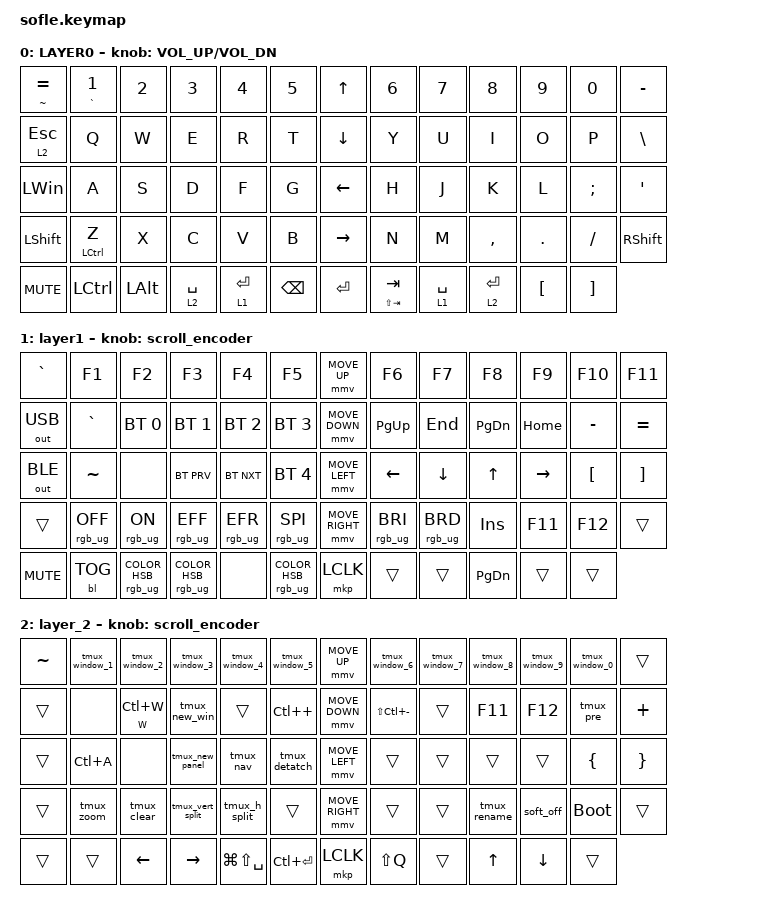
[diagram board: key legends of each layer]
#include <behaviors/mouse_keys.dtsi>
#include <behaviors.dtsi>
#include <dt-bindings/zmk/backlight.h>
#include <dt-bindings/zmk/bt.h>
#include <dt-bindings/zmk/keys.h>
#include <dt-bindings/zmk/mouse.h>
#include <dt-bindings/zmk/outputs.h>
#include <dt-bindings/zmk/rgb.h>

#define ZMK_MOUSE_DEFAULT_MOVE_VAL 1200  // 600
#define ZMK_MOUSE_DEFAULT_SCRL_VAL 20    // 10
#define U_MS_U &mmv MOVE_UP
#define U_MS_D &mmv MOVE_DOWN
#define U_MS_L &mmv MOVE_LEFT
#define U_MS_R &mmv MOVE_RIGHT
#define ZMK_MOUSE_DEFAULT_MOVE_VAL 1200  //  600
#define ZMK_MOUSE_DEFAULT_SCRL_VAL 20    // 10

/ {
    behaviors {
        mmv {
            acceleration-exponent = <1>;      // 1
            time-to-max-speed-ms = <900>;    // 40
            delay-ms = <0>;                   // 0
        };

        msc {
            acceleration-exponent = <1>;      // 0
            time-to-max-speed-ms = <400>;      // 500
            delay-ms = <0>;                   //   10
        };
    };

    scroll_encoder: scroll_encoder {
        compatible = "zmk,behavior-sensor-rotate";
        #sensor-binding-cells = <0>;
        bindings = <&msc SCRL_DOWN>, <&msc SCRL_UP>;

        tap-ms = <30>;
    };

    macros {
        tmux_window_1: tmux_new_window {
            compatible = "zmk,behavior-macro";
            #binding-cells = <0>;
            bindings = <&kp LC(W) &kp NUMBER_1>;
            label = "TMUX_NEW_WINDOW";
        };

        tmux_window_2: tmux_window_2 {
            compatible = "zmk,behavior-macro";
            #binding-cells = <0>;
            bindings = <&kp LC(W) &kp NUMBER_2>;
            label = "TMUX_WINDOW_2";
        };

        tmux_window_3: tmux_window_3 {
            compatible = "zmk,behavior-macro";
            #binding-cells = <0>;
            bindings = <&kp LC(W) &kp NUMBER_3>;
            label = "TMUX_WINDOW_3";
        };

        tmux_window_4: tmux_window_4 {
            compatible = "zmk,behavior-macro";
            #binding-cells = <0>;
            bindings = <&kp LC(W) &kp NUMBER_4>;
            label = "TMUX_WINDOW_4";
        };

        tmux_window_5: tmux_window_5 {
            compatible = "zmk,behavior-macro";
            #binding-cells = <0>;
            bindings = <&kp LC(W) &kp N5>;
            label = "TMUX_WINDOW_5";
        };

        tmux_window_6: tmux_window_6 {
            compatible = "zmk,behavior-macro";
            #binding-cells = <0>;
            bindings = <&kp LC(W) &kp NUMBER_6>;
            label = "TMUX_WINDOW_6";
        };

        tmux_window_7: tmux_window_7 {
            compatible = "zmk,behavior-macro";
            #binding-cells = <0>;
            bindings = <&kp LC(W) &kp N7>;
            label = "TMUX_WINDOW_7";
        };

        tmux_window_8: tmux_window_8 {
            compatible = "zmk,behavior-macro";
            #binding-cells = <0>;
            bindings = <&kp LC(W) &kp N8>;
            label = "TMUX_WINDOW_8";
        };

        tmux_window_9: tmux_window_9 {
            compatible = "zmk,behavior-macro";
            #binding-cells = <0>;
            bindings = <&kp LC(W) &kp N9>;
            label = "TMUX_WINDOW_9";
        };

        tmux_window_0: tmux_window_0 {
            compatible = "zmk,behavior-macro";
            #binding-cells = <0>;
            bindings = <&kp LC(W) &kp N0>;
            label = "TMUX_WINDOW_0";
        };

        tmux_new_panel: tmux_new_panel {
            compatible = "zmk,behavior-macro";
            #binding-cells = <0>;
            bindings = <&kp LC(W) &kp W>;
            label = "TMUX_NEW_PANEL";
        };

        tmux_nav: tmux_nav {
            compatible = "zmk,behavior-macro";
            #binding-cells = <0>;
            bindings = <&kp LC(W) &kp LEFT_BRACKET>;
            label = "TMUX_NAV";
        };

        tmux_detatch: tmux_detatch {
            compatible = "zmk,behavior-macro";
            #binding-cells = <0>;
            bindings = <&kp LC(W) &kp D>;
            label = "TMUX_DETATCH";
        };

        tmux_zoom: tmux_zoom {
            compatible = "zmk,behavior-macro";
            #binding-cells = <0>;
            bindings = <&kp LC(W) &kp Z>;
            label = "TMUX_ZOOM";
        };

        tmux_clear: tmux_clear {
            compatible = "zmk,behavior-macro";
            #binding-cells = <0>;
            bindings = <&kp LC(W) &kp X &kp Y>;
            label = "TMUX_CLEAR";
        };

        tmux_vert_split: tmux_view {
            compatible = "zmk,behavior-macro";
            #binding-cells = <0>;
            bindings = <&kp LC(W) &kp C>;
            label = "TMUX_VIEW";
        };

        tmux_h_split: tmux_h_split {
            compatible = "zmk,behavior-macro";
            #binding-cells = <0>;
            bindings = <&kp LC(W) &kp V>;
            label = "TMUX_H_SPLIT";
        };

        tmux_rename: tmux_rename {
            compatible = "zmk,behavior-macro";
            #binding-cells = <0>;
            bindings = <&kp LC(W) &kp COMMA>;
            label = "TMUX_RENAME";
        };

        tmux_pre: tmux_pre {
            compatible = "zmk,behavior-macro";
            #binding-cells = <0>;
            bindings = <&kp LC(W) &kp P>;
            label = "TMUX_PRE";
        };

        tmux_new_win: tmux_new_win {
            compatible = "zmk,behavior-macro";
            #binding-cells = <0>;
            bindings = <&kp LC(W) &kp E>;
            label = "TMUX_NEW_WIN";
        };
    };

    keymap {
        compatible = "zmk,keymap";

        layer0 {
            bindings = <
&mt TILDE EQUAL  &mt GRAVE NUMBER_1  &kp N2        &kp N3       &kp N4       &kp N5           &kp UP_ARROW     &kp N6           &kp N7       &kp N8       &kp N9            &kp N0             &kp MINUS
&lt 2 ESC        &kp Q               &kp W         &kp E        &kp R        &kp T            &kp DOWN_ARROW   &kp Y            &kp U        &kp I        &kp O             &kp P              &kp BSLH
&kp LEFT_WIN     &kp A               &kp S         &kp D        &kp F        &kp G            &kp LEFT_ARROW   &kp H            &kp J        &kp K        &kp L             &kp SEMI           &kp APOS
&kp LSHFT        &mt LEFT_CONTROL Z  &kp X         &kp C        &kp V        &kp B            &kp RIGHT_ARROW  &kp N            &kp M        &kp COMMA    &kp DOT           &kp FSLH           &kp RIGHT_SHIFT
&kp C_MUTE       &kp LCTRL           &kp LEFT_ALT  &lt 2 SPACE  &lt 1 ENTER  &kp BACKSPACE    &kp ENTER        &mt LS(TAB) TAB  &lt 1 SPACE  &lt 2 ENTER  &kp LEFT_BRACKET  &kp RIGHT_BRACKET
            >;

            sensor-bindings = <&inc_dec_kp C_VOLUME_UP C_VOL_DN>;
            display-name = "LAYER0";
        };

        layer_1 {
            bindings = <
&kp GRAVE     &kp F1           &kp F2                            &kp F3                            &kp F4           &kp F5                               &mmv MOVE_UP     &kp F6           &kp F7           &kp F8         &kp F9     &kp F10           &kp F11
&out OUT_USB  &kp GRAVE        &bt BT_SEL 0                      &bt BT_SEL 1                      &bt BT_SEL 2     &bt BT_SEL 3                         &mmv MOVE_DOWN   &kp PG_UP        &kp END          &kp PAGE_DOWN  &kp HOME   &kp MINUS         &kp EQUAL
&out OUT_BLE  &kp TILDE        &none                             &bt BT_PRV                        &bt BT_NXT       &bt BT_SEL 4                         &mmv MOVE_LEFT   &kp LEFT_ARROW   &kp DOWN         &kp UP_ARROW   &kp RIGHT  &kp LEFT_BRACKET  &kp RIGHT_BRACKET
&trans        &rgb_ug RGB_OFF  &rgb_ug RGB_ON                    &rgb_ug RGB_EFF                   &rgb_ug RGB_EFR  &rgb_ug RGB_SPI                      &mmv MOVE_RIGHT  &rgb_ug RGB_BRI  &rgb_ug RGB_BRD  &kp INSERT     &kp F11    &kp F12           &trans
&kp C_MUTE    &bl BL_TOG       &rgb_ug RGB_COLOR_HSB(357,89,48)  &rgb_ug RGB_COLOR_HSB(221,92,44)  &none            &rgb_ug RGB_COLOR_HSB(144,100,37)    &mkp LCLK        &trans           &trans           &kp PAGE_DOWN  &trans     &trans
            >;

            display-name = "layer1";
            sensor-bindings = <&scroll_encoder>;
        };

        layer_2 {
            bindings = <
&kp TILDE  &tmux_window_1  &tmux_window_2  &tmux_window_3    &tmux_window_4     &tmux_window_5    &mmv MOVE_UP     &tmux_window_6     &tmux_window_7  &tmux_window_8  &tmux_window_9  &tmux_window_0  &trans
&trans     &none           &mt W LC(W)     &tmux_new_win     &trans             &kp LC(PLUS)      &mmv MOVE_DOWN   &kp LS(LC(MINUS))  &trans          &kp F11         &kp F12         &tmux_pre       &kp PLUS
&trans     &kp LC(A)       &none           &tmux_new_panel   &tmux_nav          &tmux_detatch     &mmv MOVE_LEFT   &trans             &trans          &trans          &trans          &kp LBRC        &kp RBRC
&trans     &tmux_zoom      &tmux_clear     &tmux_vert_split  &tmux_h_split      &trans            &mmv MOVE_RIGHT  &trans             &trans          &tmux_rename    &soft_off       &bootloader     &trans
&trans     &trans          &kp LEFT        &kp RIGHT         &kp LG(LS(SPACE))  &kp LC(ENTER)     &mkp LCLK        &kp LS(Q)          &trans          &kp UP_ARROW    &kp DOWN        &trans
            >;

            sensor-bindings = <&scroll_encoder>;
        };
    };
};
